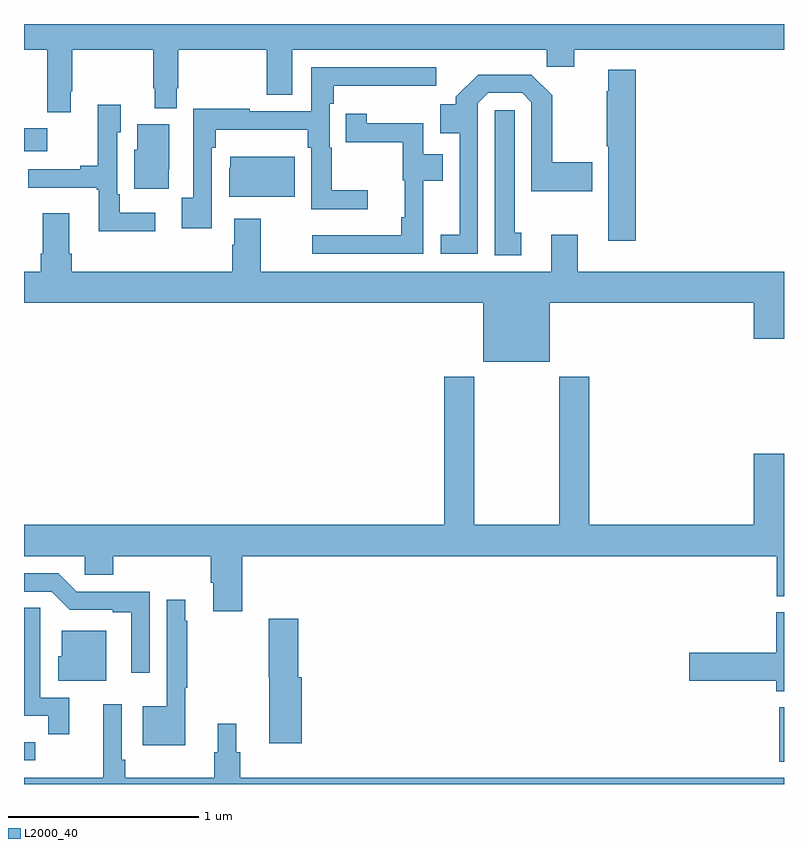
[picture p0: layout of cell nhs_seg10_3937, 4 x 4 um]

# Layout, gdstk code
import gdstk
lib = gdstk.Library(unit=1e-6, precision=1e-09)
def R(c, l, rs):  # rectangles x0, y0, x1, y1
    for r in rs: c.add(gdstk.rectangle(r[:2], r[2:], *l))
def P(c, l, *ps):  # polygons
    for p in ps: c.add(gdstk.Polygon(p, *l))
L2000_40 = (2000, 40)

nhs_seg10_3937 = lib.new_cell('nhs_seg10_3937')
R(nhs_seg10_3937, L2000_40, [(332.975,1248.618,333,1248.903), (329,1248.624,329.059,1248.72), (329,1251.83,329.123,1251.952)])
P(nhs_seg10_3937, L2000_40, [(329,1252.364),(329.123,1252.364),(329.123,1252.035),(329.245,1252.035),(329.245,1252.147),(329.253,1252.147),(329.253,1252.364),(329.68,1252.364),(329.68,1252.162),(329.687,1252.162),(329.687,1252.057),(329.803,1252.057),(329.803,1252.162),(329.811,1252.162),(329.811,1252.364),(330.277,1252.364),(330.277,1252.128),(330.412,1252.128),(330.412,1252.364),(331.75,1252.364),(331.75,1252.274),(331.897,1252.274),(331.897,1252.364),(333,1252.364),(333,1252.5),(329,1252.5)],
  [(329.988,1251.848),(330.008,1251.848),(330.008,1251.944),(330.493,1251.944),(330.493,1251.848),(330.513,1251.848),(330.513,1251.524),(330.808,1251.524),(330.808,1251.624),(330.619,1251.624),(330.619,1251.848),(330.609,1251.848),(330.609,1252.079),(330.629,1252.079),(330.629,1252.175),(331.171,1252.175),(331.171,1252.272),(330.513,1252.272),(330.513,1252.041),(330.188,1252.041),(330.188,1252.054),(329.892,1252.054),(329.892,1251.585),(329.829,1251.585),(329.829,1251.426),(329.988,1251.426)],
  [(332.219,1252.258),(332.075,1252.258),(332.075,1252.145),(332.068,1252.145),(332.068,1251.856),(332.075,1251.856),(332.075,1251.36),(332.219,1251.36)],
  [(331.389,1252.083),(331.443,1252.137),(331.623,1252.137),(331.671,1252.089),(331.671,1251.62),(331.99,1251.62),(331.99,1251.773),(331.78,1251.773),(331.78,1252.124),(331.67,1252.234),(331.39,1252.234),(331.273,1252.117),(331.273,1252.078),(331.19,1252.078),(331.19,1251.926),(331.293,1251.926),(331.293,1251.392),(331.194,1251.392),(331.194,1251.291),(331.389,1251.291)],
  [(329.692,1251.507),(329.503,1251.507),(329.503,1251.604),(329.49,1251.604),(329.49,1251.93),(329.509,1251.93),(329.509,1252.075),(329.389,1252.075),(329.389,1251.755),(329.297,1251.755),(329.297,1251.735),(329.023,1251.735),(329.023,1251.638),(329.382,1251.638),(329.382,1251.627),(329.393,1251.627),(329.393,1251.41),(329.692,1251.41)],
  [(331.618,1251.402),(331.582,1251.402),(331.582,1252.047),(331.478,1252.047),(331.478,1251.282),(331.618,1251.282)],
  [(331.101,1251.674),(331.204,1251.674),(331.204,1251.814),(331.101,1251.814),(331.101,1251.977),(330.805,1251.977),(330.805,1252.027),(330.694,1252.027),(330.694,1251.878),(330.993,1251.878),(330.993,1251.678),(331.004,1251.678),(331.004,1251.484),(330.985,1251.484),(330.985,1251.388),(330.516,1251.388),(330.516,1251.291),(331.101,1251.291)],
  [(329.763,1251.736),(329.764,1251.736),(329.764,1251.972),(329.597,1251.972),(329.597,1251.837),(329.579,1251.837),(329.579,1251.633),(329.763,1251.633)],
  [(330.424,1251.802),(330.086,1251.802),(330.086,1251.744),(330.08,1251.744),(330.08,1251.59),(330.424,1251.59)],
  [(331.768,1251.032),(332.84,1251.032),(332.84,1250.844),(333,1250.844),(333,1251.196),(331.915,1251.196),(331.915,1251.391),(331.775,1251.391),(331.775,1251.196),(330.247,1251.196),(330.247,1251.475),(330.107,1251.475),(330.107,1251.338),(330.095,1251.338),(330.095,1251.196),(329.252,1251.196),(329.252,1251.292),(329.239,1251.292),(329.239,1251.505),(329.099,1251.505),(329.099,1251.292),(329.087,1251.292),(329.087,1251.196),(329,1251.196),(329,1251.032),(331.418,1251.032),(331.418,1250.723),(331.768,1250.723)],
  [(332.963,1249.489),(333,1249.489),(333,1250.239),(332.84,1250.239),(332.84,1249.864),(331.976,1249.864),(331.976,1250.644),(331.816,1250.644),(331.816,1249.864),(331.371,1249.864),(331.371,1250.644),(331.211,1250.644),(331.211,1249.864),(329,1249.864),(329,1249.7),(329.319,1249.7),(329.319,1249.602),(329.471,1249.602),(329.471,1249.7),(329.984,1249.7),(329.984,1249.558),(329.996,1249.558),(329.996,1249.41),(330.149,1249.41),(330.149,1249.7),(332.963,1249.7)],
  [(329.661,1249.512),(329.277,1249.512),(329.181,1249.608),(329,1249.608),(329,1249.512),(329.145,1249.512),(329.241,1249.416),(329.468,1249.416),(329.468,1249.404),(329.564,1249.404),(329.564,1249.086),(329.661,1249.086)],
  [(329.848,1249.006),(329.86,1249.006),(329.86,1249.358),(329.848,1249.358),(329.848,1249.471),(329.751,1249.471),(329.751,1248.91),(329.624,1248.91),(329.624,1248.704),(329.848,1248.704)],
  [(329.237,1248.954),(329.086,1248.954),(329.086,1249.316),(329.085,1249.316),(329.085,1249.427),(329,1249.427),(329,1248.858),(329.128,1248.858),(329.128,1248.762),(329.237,1248.762)],
  [(333,1249.404),(332.96,1249.404),(332.96,1249.19),(332.502,1249.19),(332.502,1249.043),(332.96,1249.043),(332.96,1248.988),(333,1248.988)],
  [(330.461,1249.062),(330.443,1249.062),(330.443,1249.369),(330.289,1249.369),(330.289,1249.062),(330.29,1249.062),(330.29,1248.714),(330.461,1248.714)],
  [(329.434,1249.306),(329.198,1249.306),(329.198,1249.173),(329.18,1249.173),(329.18,1249.043),(329.434,1249.043)],
  [(333,1248.532),(330.137,1248.532),(330.137,1248.666),(330.118,1248.666),(330.118,1248.817),(330.02,1248.817),(330.02,1248.666),(330.001,1248.666),(330.001,1248.532),(329.534,1248.532),(329.534,1248.628),(329.514,1248.628),(329.514,1248.919),(329.417,1248.919),(329.417,1248.532),(329,1248.532),(329,1248.5),(333,1248.5)])

lib.write_gds('nhs_seg10_3937.gds')
